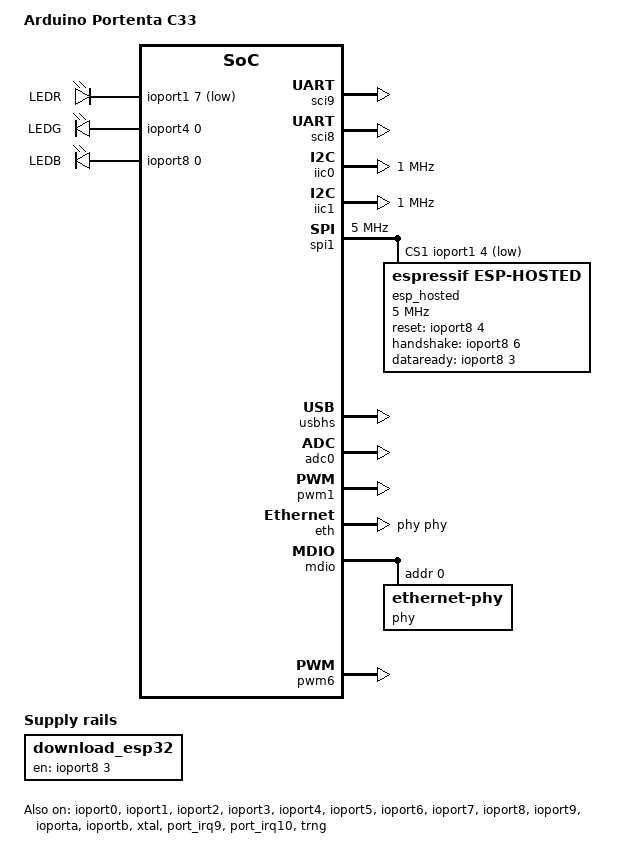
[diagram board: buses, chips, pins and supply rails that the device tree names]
/*
 * Copyright (c) 2025 Arduino SA
 * SPDX-License-Identifier: Apache-2.0
 */

/dts-v1/;

#include <renesas/ra/ra6/r7fa6m5bh3cfc.dtsi>
#include <dt-bindings/gpio/gpio.h>
#include <dt-bindings/input/input-event-codes.h>
#include <zephyr/dt-bindings/adc/adc.h>
#include <zephyr/dt-bindings/pwm/pwm.h>

#include "arduino_portenta_c33-pinctrl.dtsi"

/ {
	model = "Arduino Portenta C33";
	compatible = "renesas,ra6m5", "renesas,ra";

	chosen {
		zephyr,sram = &sram0;
		zephyr,flash-controller = &flash1;
		zephyr,code-partition = &code_partition;
		zephyr,flash = &flash0;
		zephyr,console = &uart9;
		zephyr,shell-uart = &uart9;
		zephyr,entropy = &trng;
		zephyr,bt-hci = &bt_hci_uart;
	};

	leds {
		compatible = "gpio-leds";

		led1: led1 {
			gpios = <&ioport1 7 GPIO_ACTIVE_LOW>;
			label = "LEDR";
		};

		led2: led2 {
			gpios = <&ioport4 0 GPIO_ACTIVE_HIGH>;
			label = "LEDG";
		};

		led3: led3 {
			gpios = <&ioport8 0 GPIO_ACTIVE_HIGH>;
			label = "LEDB";
		};
	};

	download-esp32 {
		compatible = "regulator-fixed";
		regulator-name = "download_esp32";
		enable-gpios = <&ioport8 3 GPIO_ACTIVE_HIGH>;
		regulator-boot-on;
	};

	aliases {
		led0 = &led1;
	};
};

&sci9 {
	pinctrl-0 = <&sci9_default>;
	pinctrl-names = "default";
	status = "okay";

	uart9: uart {
		current-speed = <115200>;
		status = "okay";
	};
};

&sci8 {
	pinctrl-0 = <&sci8_default>;
	pinctrl-names = "default";
	status = "okay";

	uart8: uart {
		current-speed = <921600>;
		status = "okay";
		hw-flow-control;

		bt_hci_uart: bt_hci_uart {
			compatible = "zephyr,bt-hci-uart";
			status = "okay";

			esp32 {
				compatible = "renesas,bt-hci-da1453x";
				status = "okay";
				reset-gpios = <&ioport8 4 GPIO_ACTIVE_LOW>;
				reset-assert-duration-ms = <100>;
				boot-duration-ms = <2000>;
			};
		};
	};
};

&option_setting_ofs0 {
	status = "disabled";
};

&option_setting_dualsel {
	status = "disabled";
};

&option_setting_ofs1_sec {
	status = "disabled";
};

&option_setting_banksel_sec {
	status = "disabled";
};

&option_setting_bps_sec {
	status = "disabled";
};

&option_setting_pbps_sec {
	status = "disabled";
};

&option_setting_ofs1_sel {
	status = "disabled";
};

&option_setting_banksel_sel {
	status = "disabled";
};

&option_setting_bps_sel {
	status = "disabled";
};

&iic0 {
	status = "okay";
	#address-cells = <1>;
	#size-cells = <0>;
	interrupts = <87 1>, <88 1>, <89 1>, <90 1>;
	interrupt-names = "rxi", "txi", "tei", "eri";
	clock-frequency = <DT_FREQ_M(1)>;
	pinctrl-0 = <&iic0_default>;
	pinctrl-names = "default";
};

&iic1 {
	status = "okay";
	#address-cells = <1>;
	#size-cells = <0>;
	interrupts = <91 1>, <92 1>, <93 1>, <94 1>;
	interrupt-names = "rxi", "txi", "tei", "eri";
	clock-frequency = <DT_FREQ_M(1)>;
	pinctrl-0 = <&iic1_default>;
	pinctrl-names = "default";
};

&spi1 {
	status = "okay";
	pinctrl-0 = <&spi1_default>;
	pinctrl-names = "default";
	clock-frequency = <DT_FREQ_M(5)>;
	cs-gpios = <&ioport1 3 GPIO_ACTIVE_LOW>,
		   <&ioport1 4 GPIO_ACTIVE_LOW>;

	esp_hosted@1 {
		status = "ok";
		compatible = "espressif,esp-hosted";
		reg = <0x1>;
		spi-max-frequency = <DT_FREQ_M(5)>;
		reset-gpios = <&ioport8 4 GPIO_ACTIVE_HIGH>;
		handshake-gpios = <&ioport8 6 GPIO_ACTIVE_HIGH>;
		dataready-gpios = <&ioport8 3 GPIO_ACTIVE_HIGH>;
	};
};

&ioport0 {
	status = "okay";
};

&ioport1 {
	status = "okay";
};

&ioport2 {
	status = "okay";
};

&ioport3 {
	status = "okay";
};

&ioport4 {
	status = "okay";
};

&ioport5 {
	status = "okay";
};

&ioport6 {
	status = "okay";
};

&ioport7 {
	status = "okay";
};

&ioport8 {
	status = "okay";
};

&ioport9 {
	status = "okay";
};

&ioporta {
	status = "okay";
};

&ioportb {
	status = "okay";
};

&xtal {
	clock-frequency = <DT_FREQ_M(24)>;
	mosel = <0>;
	#clock-cells = <0>;
	status = "okay";
};

&subclk {
	status = "okay";
};

&pll {
	clocks = <&xtal>;
	div = <3>;
	mul = <25 0>;
	status = "okay";
};

&usbhs {
	pinctrl-0 = <&usbhs_default>;
	pinctrl-names = "default";
	maximum-speed = "high-speed";
	status = "okay";

	zephyr_udc0: udc {
		status = "okay";

		board_cdc_acm_uart: board_cdc_acm_uart {
			compatible = "zephyr,cdc-acm-uart";
		};
	};
};

&usbhs_phy {
	phys-clock-src = "xtal";
};

&adc0 {
	status = "okay";
	pinctrl-0 = <&adc0_default>;
	pinctrl-names = "default";
};

&port_irq9 {
	interrupts = <41 12>;
	status = "okay";
};

&port_irq10 {
	interrupts = <42 12>;
	status = "okay";
};

&pwm1 {
	pinctrl-0 = <&pwm1_default>;
	pinctrl-names = "default";
	interrupts = <63 1>, <64 1>;
	interrupt-names = "gtioca", "overflow";
	status = "okay";
};

&flash0 {
	partitions {
		compatible = "fixed-partitions";
		#address-cells = <1>;
		#size-cells = <1>;

		boot_partition: partition@0 {
			label = "mcuboot";
			reg = <0x00000000 DT_SIZE_K(64)>;
			read-only;
		};

		code_partition: partition@10000 {
			label = "image-0";
			reg = <0x00010000 (DT_SIZE_M(2) - DT_SIZE_K(64))>;
		};
	};
};

&flash1 {
	partitions {
		compatible = "fixed-partitions";
		#address-cells = <1>;
		#size-cells = <1>;

		storage_partition: partition@0 {
			label = "storage";
			reg = <0X0 DT_SIZE_K(8)>;
		};
	};
};

&trng {
	status = "okay";
};

&eth {
	local-mac-address = [74 90 50 B0 5D E9];
	status = "okay";
	phy-handle = <&phy>;
};

&mdio {
	pinctrl-0 = <&ether_default>;
	pinctrl-names = "default";
	status = "okay";

	phy: ethernet-phy@0 {
		compatible = "ethernet-phy";
		reg = <0>;
		status = "okay";
	};
};

&pwm6 {
	pinctrl-0 = <&pwm6_default>;
	pinctrl-names = "default";
	interrupts = <63 1>, <64 1>;
	interrupt-names = "gtioca", "overflow";
	status = "okay";

	eth_clock: pwmclock {
		status = "okay";
		compatible = "pwm-clock";
		clock-frequency = <DT_FREQ_M(25)>;
		#clock-cells = <1>;
		pwms = <&pwm6 1 PWM_KHZ(25000) PWM_POLARITY_NORMAL>;
	};
};

#include "arduino_mkr_connector.dtsi"
